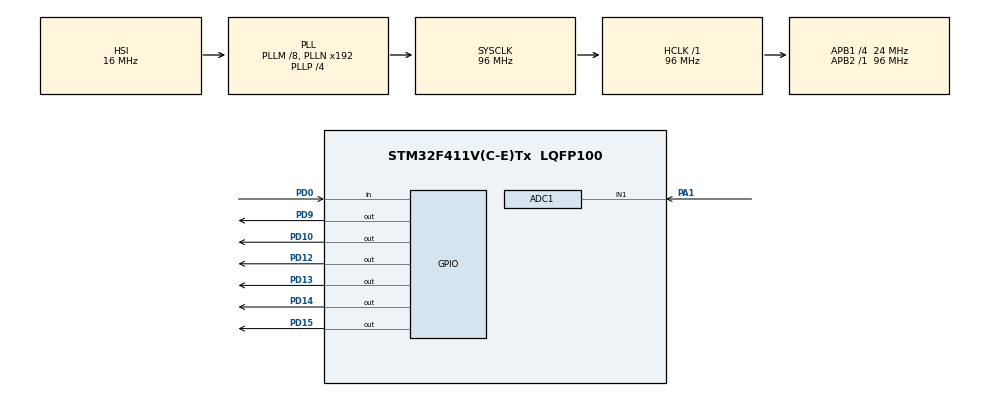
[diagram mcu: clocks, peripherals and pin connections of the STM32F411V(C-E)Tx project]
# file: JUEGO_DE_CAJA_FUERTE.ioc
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ADC1.Channel-1\#ChannelRegularConversion=ADC_CHANNEL_1
ADC1.NbrOfConversionFlag=1
ADC1.Rank-1\#ChannelRegularConversion=1
ADC1.SamplingTime-1\#ChannelRegularConversion=ADC_SAMPLETIME_3CYCLES
ADC1.master=1
Mcu.Family=STM32F4
Mcu.Name=STM32F411V(C-E)Tx
Mcu.Package=LQFP100
NVIC.PriorityGroup=NVIC_PRIORITYGROUP_0
NVIC.TIM2_IRQn=true\:0\:0\:false\:false\:true\:true\:true\:true
PA1.Signal=ADCx_IN1
PD0.Signal=GPIO_Input
PD10.Signal=GPIO_Output
PD12.Signal=GPIO_Output
PD13.Signal=GPIO_Output
PD14.Signal=GPIO_Output
PD15.Signal=GPIO_Output
PD9.Signal=GPIO_Output
ProjectManager.HeapSize=0x200
ProjectManager.StackSize=0x400
ProjectManager.TargetToolchain=STM32CubeIDE
RCC.48MHZClocksFreq_Value=48000000
RCC.AHBFreq_Value=96000000
RCC.APB1CLKDivider=RCC_HCLK_DIV4
RCC.APB1Freq_Value=24000000
RCC.APB1TimFreq_Value=48000000
RCC.APB2Freq_Value=96000000
RCC.APB2TimFreq_Value=96000000
RCC.CortexFreq_Value=96000000
RCC.HCLKFreq_Value=96000000
RCC.HSE_VALUE=8000000
RCC.HSI_VALUE=16000000
RCC.LSE_VALUE=32768
RCC.PLLI2SM=5
RCC.PLLI2SN=200
RCC.PLLM=8
RCC.PLLP=RCC_PLLP_DIV4
RCC.PLLQ=8
RCC.SYSCLKFreq_VALUE=96000000
RCC.SYSCLKSource=RCC_SYSCLKSOURCE_PLLCLK
RCC.VCOOutputFreq_Value=384000000
SH.ADCx_IN1.0=ADC1_IN1,IN1
TIM2.Period=3999
TIM2.Prescaler=47999
VP_TIM2_VS_ClockSourceINT.Mode=Internal
VP_TIM2_VS_ClockSourceITR.Mode=TriggerSource_ITR0
board=STM32F411E-DISCO

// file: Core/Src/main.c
/* USER CODE BEGIN Header */
/**
 ******************************************************************************
 * @file           : main.c
 * @brief          : Main program body
 ******************************************************************************
 * @attention
 *
 * Copyright (c) 2026 STMicroelectronics.
 * All rights reserved.
 *
 * This software is licensed under terms that can be found in the LICENSE file
 * in the root directory of this software component.
 * If no LICENSE file comes with this software, it is provided AS-IS.
 *
 ******************************************************************************
 */
/* USER CODE END Header */
#include "main.h"

/* USER CODE BEGIN Includes */

#include "main.h"
#include "game_tipos.h"
#include "game_funcionamiento.h"
#include <stdlib.h> // Para abs

/* USER CODE END Includes */

ADC_HandleTypeDef hadc1;

TIM_HandleTypeDef htim2;

/* USER CODE BEGIN PV */

Game_Handle_t hGame;
uint32_t rawValue = 0;
uint32_t tiempoInicioJuego = 0;

// Constantes
const uint32_t TIEMPO_LIMITE_JUEGO = 30000; // 30 Segundos

/* USER CODE END PV */

void SystemClock_Config(void);
static void MX_GPIO_Init(void);
static void MX_ADC1_Init(void);
static void MX_TIM2_Init(void);

int main(void)
{

	/* MCU Configuration--------------------------------------------------------*/

	/* Reset of all peripherals, Initializes the Flash interface and the Systick. */
	HAL_Init();

	/* Configure the system clock */
	SystemClock_Config();

	/* Initialize all configured peripherals */
	MX_GPIO_Init();
	MX_ADC1_Init();
	MX_TIM2_Init();
	/* USER CODE BEGIN 2 */

	// Empezamos en IDLE
	hGame.currentState = STATE_IDLE;
	hGame.currentDigitIndex = 0;

	// Clave secreta (0-9-0)
	hGame.secretCode[0] = 0;
	hGame.secretCode[1] = 9;
	hGame.secretCode[2] = 0;

	// Reparacion boton PA0
	GPIO_InitTypeDef GPIO_InitStruct = {0};
	__HAL_RCC_GPIOA_CLK_ENABLE();
	GPIO_InitStruct.Pin = GPIO_PIN_0;
	GPIO_InitStruct.Mode = GPIO_MODE_INPUT;
	GPIO_InitStruct.Pull = GPIO_PULLDOWN;
	HAL_GPIO_Init(GPIOA, &GPIO_InitStruct);
	uint32_t lastAdcTick = 0;

	/* USER CODE END 2 */

	/* Infinite loop */
	while (1)
	{

		/* USER CODE BEGIN 3 */
		// ==========================================================
		// ESTADO 1: IDLE (ESPERA)
		// ==========================================================
		if (hGame.currentState == STATE_IDLE) {

			//0. Reset de LEDs Victoria/Derrota
			HAL_GPIO_WritePin(GPIOD, GPIO_PIN_9|GPIO_PIN_10, GPIO_PIN_RESET);

			// 1. Animacion Circular
			static uint32_t tAnim = 0;
			static uint8_t ledPos = 0;

			if (HAL_GetTick() - tAnim > 150) {
				HAL_GPIO_WritePin(GPIOD, GPIO_PIN_12|GPIO_PIN_13|GPIO_PIN_14|GPIO_PIN_15, GPIO_PIN_RESET);
				if(ledPos == 0) HAL_GPIO_WritePin(GPIOD, GPIO_PIN_12, GPIO_PIN_SET);
				if(ledPos == 1) HAL_GPIO_WritePin(GPIOD, GPIO_PIN_13, GPIO_PIN_SET);
				if(ledPos == 2) HAL_GPIO_WritePin(GPIOD, GPIO_PIN_14, GPIO_PIN_SET);
				if(ledPos == 3) HAL_GPIO_WritePin(GPIOD, GPIO_PIN_15, GPIO_PIN_SET);
				ledPos++;
				if(ledPos > 3) ledPos = 0;
				tAnim = HAL_GetTick();
			}

			// 2. Detectar pulsacion larga (2s)
			if (HAL_GPIO_ReadPin(GPIOA, GPIO_PIN_0) == GPIO_PIN_SET) {
				HAL_Delay(50);
				if (HAL_GPIO_ReadPin(GPIOA, GPIO_PIN_0) == GPIO_PIN_SET) {

					uint32_t tPresionado = HAL_GetTick();
					uint8_t comenzar = 0;

					while(HAL_GPIO_ReadPin(GPIOA, GPIO_PIN_0) == GPIO_PIN_SET) {
						if(HAL_GetTick() - tPresionado > 2000) {
							comenzar = 1;
							break;
						}
					}

					if (comenzar) {
						// Feedback: Flash Blanco
						for(int k=0; k<3; k++){
							HAL_GPIO_TogglePin(GPIOD, GPIO_PIN_12|GPIO_PIN_13|GPIO_PIN_14|GPIO_PIN_15);
							HAL_Delay(50);
						}
						HAL_GPIO_WritePin(GPIOD, GPIO_PIN_12|GPIO_PIN_13|GPIO_PIN_14|GPIO_PIN_15, GPIO_PIN_RESET);

						// --- AQUI ESTA EL ARREGLO (BARRERA DE ENTRADA) ---
						// Esperamos a que SUELTES el boton antes de empezar el juego
						// Asi evitamos que el click se cuele en el Nivel 1
						while(HAL_GPIO_ReadPin(GPIOA, GPIO_PIN_0) == GPIO_PIN_SET);
						HAL_Delay(500); // Medio segundo de cortesia extra
						// --------------------------------------------------

						// INICIAR JUEGO
						hGame.currentDigitIndex = 0;
						hGame.currentState = STATE_PLAYING;
						tiempoInicioJuego = HAL_GetTick();
					}
				}
			}
		}

		// ==========================================================
		// ESTADO 2: JUGANDO (PLAYING)
		// ==========================================================
		else if (hGame.currentState == STATE_PLAYING) {

			// 1. Tiempo Limite (30s)
			if (HAL_GetTick() - tiempoInicioJuego > TIEMPO_LIMITE_JUEGO) {
				hGame.currentState = STATE_LOSE;
			}

			// 2. Logica Boton
			if (HAL_GPIO_ReadPin(GPIOA, GPIO_PIN_0) == GPIO_PIN_SET) {

				HAL_Delay(50);

				if (HAL_GPIO_ReadPin(GPIOA, GPIO_PIN_0) == GPIO_PIN_SET) {

					// Reset Hardware (Timer 2)
					__HAL_TIM_SET_COUNTER(&htim2, 0);
					HAL_TIM_Base_Start_IT(&htim2);

					while(HAL_GPIO_ReadPin(GPIOA, GPIO_PIN_0) == GPIO_PIN_SET);
					HAL_TIM_Base_Stop_IT(&htim2);

					// JUGADA NORMAL
					HAL_ADC_Start(&hadc1);
					if (HAL_ADC_PollForConversion(&hadc1, 5) == HAL_OK) rawValue = HAL_ADC_GetValue(&hadc1);
					HAL_ADC_Stop(&hadc1);

					int inputVisual = (rawValue * 10) / 4096;
					if(inputVisual > 9) inputVisual = 9;
					hGame.playerInput = inputVisual;

					int secreto = hGame.secretCode[hGame.currentDigitIndex];
					int diff = abs(hGame.playerInput - secreto);

					if (diff <= 1) { // Acierto
						hGame.currentDigitIndex++;

						// Feedback Acierto
						HAL_GPIO_WritePin(GPIOD, GPIO_PIN_12|GPIO_PIN_13|GPIO_PIN_14, GPIO_PIN_RESET);
						HAL_GPIO_WritePin(GPIOD, GPIO_PIN_12, GPIO_PIN_SET);
						HAL_Delay(300);
						HAL_GPIO_WritePin(GPIOD, GPIO_PIN_12, GPIO_PIN_RESET);

						if (hGame.currentDigitIndex >= 3) hGame.currentState = STATE_WIN;
					}
					else { // Fallo
						hGame.currentState = STATE_LOSE;
					}
				}
			}

			// 3. Lectura ADC Visual
			if (HAL_GetTick() - lastAdcTick > 100) {
				HAL_ADC_Start(&hadc1);
				if (HAL_ADC_PollForConversion(&hadc1, 5) == HAL_OK) rawValue = HAL_ADC_GetValue(&hadc1);
				HAL_ADC_Stop(&hadc1);
				lastAdcTick = HAL_GetTick();
			}

			// 4. LEDs Frio/Caliente
			int inputVisual = (rawValue * 10) / 4096;
			if(inputVisual > 9) inputVisual = 9;

			int dist = abs(inputVisual - hGame.secretCode[hGame.currentDigitIndex]);
			uint32_t velocidad = 0;

			if (dist <= 1) velocidad = 100;
			else if (dist <= 3) velocidad = 300;
			else if (dist <= 5) velocidad = 600;
			else velocidad = 1200;

			static uint32_t t = 0;
			static int s = 0;
			if(HAL_GetTick() - t > velocidad) { s = !s; t = HAL_GetTick(); }

			if (hGame.currentDigitIndex > 0) HAL_GPIO_WritePin(GPIOD, GPIO_PIN_12, GPIO_PIN_SET);
			else if (hGame.currentDigitIndex == 0) HAL_GPIO_WritePin(GPIOD, GPIO_PIN_12, s);

			if (hGame.currentDigitIndex > 1) HAL_GPIO_WritePin(GPIOD, GPIO_PIN_13, GPIO_PIN_SET);
			else if (hGame.currentDigitIndex == 1) HAL_GPIO_WritePin(GPIOD, GPIO_PIN_13, s);
			else HAL_GPIO_WritePin(GPIOD, GPIO_PIN_13, GPIO_PIN_RESET);

			if (hGame.currentDigitIndex > 2) HAL_GPIO_WritePin(GPIOD, GPIO_PIN_14, GPIO_PIN_SET);
			else if (hGame.currentDigitIndex == 2) HAL_GPIO_WritePin(GPIOD, GPIO_PIN_14, s);
			else HAL_GPIO_WritePin(GPIOD, GPIO_PIN_15, GPIO_PIN_RESET);
		}

		// ==========================================================
		// ESTADO 3: VICTORIA
		// ==========================================================
		else if (hGame.currentState == STATE_WIN) {
			HAL_GPIO_TogglePin(GPIOD, GPIO_PIN_12|GPIO_PIN_13|GPIO_PIN_14|GPIO_PIN_15);
			HAL_Delay(100);

			HAL_GPIO_WritePin(GPIOD, GPIO_PIN_9, GPIO_PIN_SET);

			if(HAL_GPIO_ReadPin(GPIOA, GPIO_PIN_0) == GPIO_PIN_SET) {
				while(HAL_GPIO_ReadPin(GPIOA, GPIO_PIN_0) == GPIO_PIN_SET);
				hGame.currentState = STATE_IDLE;
			}
		}

		// ==========================================================
		// ESTADO 4: DERROTA
		// ==========================================================
		else if (hGame.currentState == STATE_LOSE) {
			HAL_GPIO_WritePin(GPIOD, GPIO_PIN_12|GPIO_PIN_13|GPIO_PIN_15|GPIO_PIN_14, GPIO_PIN_RESET);
			HAL_Delay(200);

			HAL_GPIO_WritePin(GPIOD, GPIO_PIN_10, GPIO_PIN_SET);

			if(HAL_GPIO_ReadPin(GPIOA, GPIO_PIN_0) == GPIO_PIN_SET) {
				while(HAL_GPIO_ReadPin(GPIOA, GPIO_PIN_0) == GPIO_PIN_SET);
				hGame.currentState = STATE_IDLE;
			}
		}
	}
	/* USER CODE END 3 */
}

void SystemClock_Config(void)
{
	RCC_OscInitTypeDef RCC_OscInitStruct = {0};
	RCC_ClkInitTypeDef RCC_ClkInitStruct = {0};

	/** Configure the main internal regulator output voltage
	 */
	__HAL_RCC_PWR_CLK_ENABLE();
	__HAL_PWR_VOLTAGESCALING_CONFIG(PWR_REGULATOR_VOLTAGE_SCALE1);

	/** Initializes the RCC Oscillators according to the specified parameters
	 * in the RCC_OscInitTypeDef structure.
	 */
	RCC_OscInitStruct.OscillatorType = RCC_OSCILLATORTYPE_HSI;
	RCC_OscInitStruct.HSIState = RCC_HSI_ON;
	RCC_OscInitStruct.HSICalibrationValue = RCC_HSICALIBRATION_DEFAULT;
	RCC_OscInitStruct.PLL.PLLState = RCC_PLL_ON;
	RCC_OscInitStruct.PLL.PLLSource = RCC_PLLSOURCE_HSI;
	RCC_OscInitStruct.PLL.PLLM = 8;
	RCC_OscInitStruct.PLL.PLLN = 192;
	RCC_OscInitStruct.PLL.PLLP = RCC_PLLP_DIV4;
	RCC_OscInitStruct.PLL.PLLQ = 8;
	if (HAL_RCC_OscConfig(&RCC_OscInitStruct) != HAL_OK)
	{
		Error_Handler();
	}

	/** Initializes the CPU, AHB and APB buses clocks
	 */
	RCC_ClkInitStruct.ClockType = RCC_CLOCKTYPE_HCLK|RCC_CLOCKTYPE_SYSCLK
			|RCC_CLOCKTYPE_PCLK1|RCC_CLOCKTYPE_PCLK2;
	RCC_ClkInitStruct.SYSCLKSource = RCC_SYSCLKSOURCE_PLLCLK;
	RCC_ClkInitStruct.AHBCLKDivider = RCC_SYSCLK_DIV1;
	RCC_ClkInitStruct.APB1CLKDivider = RCC_HCLK_DIV4;
	RCC_ClkInitStruct.APB2CLKDivider = RCC_HCLK_DIV1;

	if (HAL_RCC_ClockConfig(&RCC_ClkInitStruct, FLASH_LATENCY_3) != HAL_OK)
	{
		Error_Handler();
	}
}

static void MX_ADC1_Init(void)
{

	ADC_ChannelConfTypeDef sConfig = {0};

	/** Configure the global features of the ADC (Clock, Resolution, Data Alignment and number of conversion)
	 */
	hadc1.Instance = ADC1;
	hadc1.Init.ClockPrescaler = ADC_CLOCK_SYNC_PCLK_DIV4;
	hadc1.Init.Resolution = ADC_RESOLUTION_12B;
	hadc1.Init.ScanConvMode = DISABLE;
	hadc1.Init.ContinuousConvMode = DISABLE;
	hadc1.Init.DiscontinuousConvMode = DISABLE;
	hadc1.Init.ExternalTrigConvEdge = ADC_EXTERNALTRIGCONVEDGE_NONE;
	hadc1.Init.ExternalTrigConv = ADC_SOFTWARE_START;
	hadc1.Init.DataAlign = ADC_DATAALIGN_RIGHT;
	hadc1.Init.NbrOfConversion = 1;
	hadc1.Init.DMAContinuousRequests = DISABLE;
	hadc1.Init.EOCSelection = ADC_EOC_SINGLE_CONV;
	if (HAL_ADC_Init(&hadc1) != HAL_OK)
	{
		Error_Handler();
	}

	/** Configure for the selected ADC regular channel its corresponding rank in the sequencer and its sample time.
	 */
	sConfig.Channel = ADC_CHANNEL_1;
	sConfig.Rank = 1;
	sConfig.SamplingTime = ADC_SAMPLETIME_3CYCLES;
	if (HAL_ADC_ConfigChannel(&hadc1, &sConfig) != HAL_OK)
	{
		Error_Handler();
	}

}

static void MX_TIM2_Init(void)
{

	/* USER CODE BEGIN TIM2_Init 0 */

	__HAL_RCC_TIM2_CLK_ENABLE(); // IMPORTANTE

	/* USER CODE END TIM2_Init 0 */

	TIM_ClockConfigTypeDef sClockSourceConfig = {0};
	TIM_SlaveConfigTypeDef sSlaveConfig = {0};
	TIM_MasterConfigTypeDef sMasterConfig = {0};

	htim2.Instance = TIM2;
	htim2.Init.Prescaler = 47999;
	htim2.Init.CounterMode = TIM_COUNTERMODE_UP;
	htim2.Init.Period = 3999;
	htim2.Init.ClockDivision = TIM_CLOCKDIVISION_DIV1;
	htim2.Init.AutoReloadPreload = TIM_AUTORELOAD_PRELOAD_DISABLE;
	if (HAL_TIM_Base_Init(&htim2) != HAL_OK)
	{
		Error_Handler();
	}
	sClockSourceConfig.ClockSource = TIM_CLOCKSOURCE_INTERNAL;
	if (HAL_TIM_ConfigClockSource(&htim2, &sClockSourceConfig) != HAL_OK)
	{
		Error_Handler();
	}
	sSlaveConfig.SlaveMode = TIM_SLAVEMODE_DISABLE;
	sSlaveConfig.InputTrigger = TIM_TS_ITR0;
	if (HAL_TIM_SlaveConfigSynchro(&htim2, &sSlaveConfig) != HAL_OK)
	{
		Error_Handler();
	}
	sMasterConfig.MasterOutputTrigger = TIM_TRGO_RESET;
	sMasterConfig.MasterSlaveMode = TIM_MASTERSLAVEMODE_DISABLE;
	if (HAL_TIMEx_MasterConfigSynchronization(&htim2, &sMasterConfig) != HAL_OK)
	{
		Error_Handler();
	}
	/* USER CODE BEGIN TIM2_Init 2 */
	HAL_NVIC_SetPriority(TIM2_IRQn, 0, 0);
	HAL_NVIC_EnableIRQ(TIM2_IRQn);
	/* USER CODE END TIM2_Init 2 */

}

static void MX_GPIO_Init(void)
{
	GPIO_InitTypeDef GPIO_InitStruct = {0};

	/* GPIO Ports Clock Enable */
	__HAL_RCC_GPIOA_CLK_ENABLE();
	__HAL_RCC_GPIOD_CLK_ENABLE();

	/*Configure GPIO pin Output Level */
	HAL_GPIO_WritePin(GPIOD, GPIO_PIN_9|GPIO_PIN_10|GPIO_PIN_12|GPIO_PIN_13
			|GPIO_PIN_14|GPIO_PIN_15, GPIO_PIN_RESET);

	/*Configure GPIO pins : PD9 PD10 PD12 PD13
                           PD14 PD15 */
	GPIO_InitStruct.Pin = GPIO_PIN_9|GPIO_PIN_10|GPIO_PIN_12|GPIO_PIN_13
			|GPIO_PIN_14|GPIO_PIN_15;
	GPIO_InitStruct.Mode = GPIO_MODE_OUTPUT_PP;
	GPIO_InitStruct.Pull = GPIO_NOPULL;
	GPIO_InitStruct.Speed = GPIO_SPEED_FREQ_LOW;
	HAL_GPIO_Init(GPIOD, &GPIO_InitStruct);

	/*Configure GPIO pin : PD0 */
	GPIO_InitStruct.Pin = GPIO_PIN_0;
	GPIO_InitStruct.Mode = GPIO_MODE_INPUT;
	GPIO_InitStruct.Pull = GPIO_NOPULL;
	HAL_GPIO_Init(GPIOD, &GPIO_InitStruct);

	/* USER CODE BEGIN MX_GPIO_Init_2 */
	GPIO_InitStruct.Pin = GPIO_PIN_1;
	GPIO_InitStruct.Mode = GPIO_MODE_ANALOG;
	GPIO_InitStruct.Pull = GPIO_NOPULL;
	HAL_GPIO_Init(GPIOA, &GPIO_InitStruct);
	/* USER CODE END MX_GPIO_Init_2 */
}

/* USER CODE BEGIN 4 */

// Interrupcion Timer 2 (Reset Emergencia)
void HAL_TIM_PeriodElapsedCallback(TIM_HandleTypeDef *htim)
{
	if (htim->Instance == TIM2) {
		HAL_TIM_Base_Stop_IT(&htim2);
		for(int k=0; k<5; k++) {
			HAL_GPIO_TogglePin(GPIOD, GPIO_PIN_15);
			for(int d=0; d<200000; d++);
		}
		NVIC_SystemReset();
	}
}

/* USER CODE END 4 */

void Error_Handler(void)
{
	__disable_irq();
	while (1)
	{
	}
}
